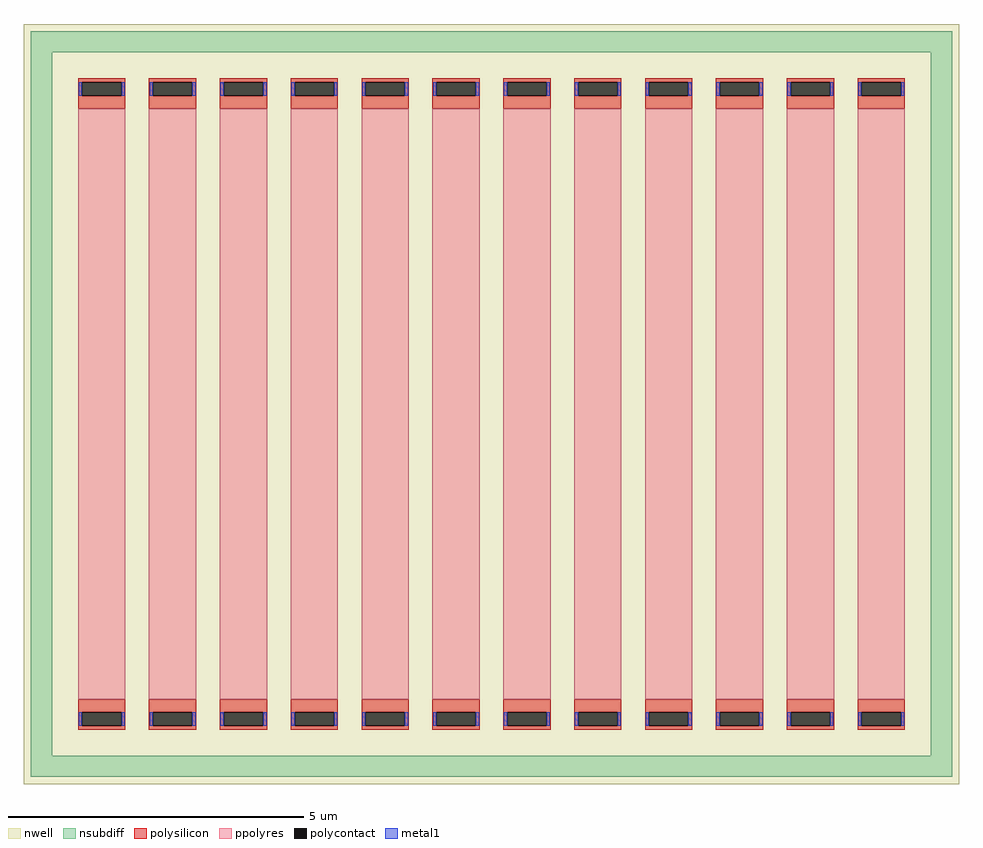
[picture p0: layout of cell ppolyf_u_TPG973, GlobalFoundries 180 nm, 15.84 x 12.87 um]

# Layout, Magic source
magic
tech gf180mcuC
magscale 1 10
<< nwell >>
rect -1584 -1287 1584 1287
<< nsubdiff >>
rect -1560 1191 1560 1263
rect -1560 -1191 -1488 1191
rect 1488 -1191 1560 1191
rect -1560 -1263 1560 -1191
<< polysilicon >>
rect -1400 1090 -1240 1103
rect -1400 1044 -1387 1090
rect -1253 1044 -1240 1090
rect -1400 1000 -1240 1044
rect -1400 -1044 -1240 -1000
rect -1400 -1090 -1387 -1044
rect -1253 -1090 -1240 -1044
rect -1400 -1103 -1240 -1090
rect -1160 1090 -1000 1103
rect -1160 1044 -1147 1090
rect -1013 1044 -1000 1090
rect -1160 1000 -1000 1044
rect -1160 -1044 -1000 -1000
rect -1160 -1090 -1147 -1044
rect -1013 -1090 -1000 -1044
rect -1160 -1103 -1000 -1090
rect -920 1090 -760 1103
rect -920 1044 -907 1090
rect -773 1044 -760 1090
rect -920 1000 -760 1044
rect -920 -1044 -760 -1000
rect -920 -1090 -907 -1044
rect -773 -1090 -760 -1044
rect -920 -1103 -760 -1090
rect -680 1090 -520 1103
rect -680 1044 -667 1090
rect -533 1044 -520 1090
rect -680 1000 -520 1044
rect -680 -1044 -520 -1000
rect -680 -1090 -667 -1044
rect -533 -1090 -520 -1044
rect -680 -1103 -520 -1090
rect -440 1090 -280 1103
rect -440 1044 -427 1090
rect -293 1044 -280 1090
rect -440 1000 -280 1044
rect -440 -1044 -280 -1000
rect -440 -1090 -427 -1044
rect -293 -1090 -280 -1044
rect -440 -1103 -280 -1090
rect -200 1090 -40 1103
rect -200 1044 -187 1090
rect -53 1044 -40 1090
rect -200 1000 -40 1044
rect -200 -1044 -40 -1000
rect -200 -1090 -187 -1044
rect -53 -1090 -40 -1044
rect -200 -1103 -40 -1090
rect 40 1090 200 1103
rect 40 1044 53 1090
rect 187 1044 200 1090
rect 40 1000 200 1044
rect 40 -1044 200 -1000
rect 40 -1090 53 -1044
rect 187 -1090 200 -1044
rect 40 -1103 200 -1090
rect 280 1090 440 1103
rect 280 1044 293 1090
rect 427 1044 440 1090
rect 280 1000 440 1044
rect 280 -1044 440 -1000
rect 280 -1090 293 -1044
rect 427 -1090 440 -1044
rect 280 -1103 440 -1090
rect 520 1090 680 1103
rect 520 1044 533 1090
rect 667 1044 680 1090
rect 520 1000 680 1044
rect 520 -1044 680 -1000
rect 520 -1090 533 -1044
rect 667 -1090 680 -1044
rect 520 -1103 680 -1090
rect 760 1090 920 1103
rect 760 1044 773 1090
rect 907 1044 920 1090
rect 760 1000 920 1044
rect 760 -1044 920 -1000
rect 760 -1090 773 -1044
rect 907 -1090 920 -1044
rect 760 -1103 920 -1090
rect 1000 1090 1160 1103
rect 1000 1044 1013 1090
rect 1147 1044 1160 1090
rect 1000 1000 1160 1044
rect 1000 -1044 1160 -1000
rect 1000 -1090 1013 -1044
rect 1147 -1090 1160 -1044
rect 1000 -1103 1160 -1090
rect 1240 1090 1400 1103
rect 1240 1044 1253 1090
rect 1387 1044 1400 1090
rect 1240 1000 1400 1044
rect 1240 -1044 1400 -1000
rect 1240 -1090 1253 -1044
rect 1387 -1090 1400 -1044
rect 1240 -1103 1400 -1090
<< polycontact >>
rect -1387 1044 -1253 1090
rect -1387 -1090 -1253 -1044
rect -1147 1044 -1013 1090
rect -1147 -1090 -1013 -1044
rect -907 1044 -773 1090
rect -907 -1090 -773 -1044
rect -667 1044 -533 1090
rect -667 -1090 -533 -1044
rect -427 1044 -293 1090
rect -427 -1090 -293 -1044
rect -187 1044 -53 1090
rect -187 -1090 -53 -1044
rect 53 1044 187 1090
rect 53 -1090 187 -1044
rect 293 1044 427 1090
rect 293 -1090 427 -1044
rect 533 1044 667 1090
rect 533 -1090 667 -1044
rect 773 1044 907 1090
rect 773 -1090 907 -1044
rect 1013 1044 1147 1090
rect 1013 -1090 1147 -1044
rect 1253 1044 1387 1090
rect 1253 -1090 1387 -1044
<< ppolyres >>
rect -1400 -1000 -1240 1000
rect -1160 -1000 -1000 1000
rect -920 -1000 -760 1000
rect -680 -1000 -520 1000
rect -440 -1000 -280 1000
rect -200 -1000 -40 1000
rect 40 -1000 200 1000
rect 280 -1000 440 1000
rect 520 -1000 680 1000
rect 760 -1000 920 1000
rect 1000 -1000 1160 1000
rect 1240 -1000 1400 1000
<< metal1 >>
rect -1398 1044 -1387 1090
rect -1253 1044 -1242 1090
rect -1158 1044 -1147 1090
rect -1013 1044 -1002 1090
rect -918 1044 -907 1090
rect -773 1044 -762 1090
rect -678 1044 -667 1090
rect -533 1044 -522 1090
rect -438 1044 -427 1090
rect -293 1044 -282 1090
rect -198 1044 -187 1090
rect -53 1044 -42 1090
rect 42 1044 53 1090
rect 187 1044 198 1090
rect 282 1044 293 1090
rect 427 1044 438 1090
rect 522 1044 533 1090
rect 667 1044 678 1090
rect 762 1044 773 1090
rect 907 1044 918 1090
rect 1002 1044 1013 1090
rect 1147 1044 1158 1090
rect 1242 1044 1253 1090
rect 1387 1044 1398 1090
rect -1398 -1090 -1387 -1044
rect -1253 -1090 -1242 -1044
rect -1158 -1090 -1147 -1044
rect -1013 -1090 -1002 -1044
rect -918 -1090 -907 -1044
rect -773 -1090 -762 -1044
rect -678 -1090 -667 -1044
rect -533 -1090 -522 -1044
rect -438 -1090 -427 -1044
rect -293 -1090 -282 -1044
rect -198 -1090 -187 -1044
rect -53 -1090 -42 -1044
rect 42 -1090 53 -1044
rect 187 -1090 198 -1044
rect 282 -1090 293 -1044
rect 427 -1090 438 -1044
rect 522 -1090 533 -1044
rect 667 -1090 678 -1044
rect 762 -1090 773 -1044
rect 907 -1090 918 -1044
rect 1002 -1090 1013 -1044
rect 1147 -1090 1158 -1044
rect 1242 -1090 1253 -1044
rect 1387 -1090 1398 -1044
<< properties >>
string FIXED_BBOX -1524 -1227 1524 1227
string gencell ppolyf_u
string library gf180mcu
string parameters w 0.8 l 10.0 m 1 nx 12 wmin 0.80 lmin 1.00 rho 315 val 4.315k dummy 0 dw 0.07 term 0.0 sterm 0.0 caplen 0.4 snake 0 glc 0 grc 0 gtc 0 gbc 0 roverlap 0 endcov 100 full_metal 0
<< end >>
